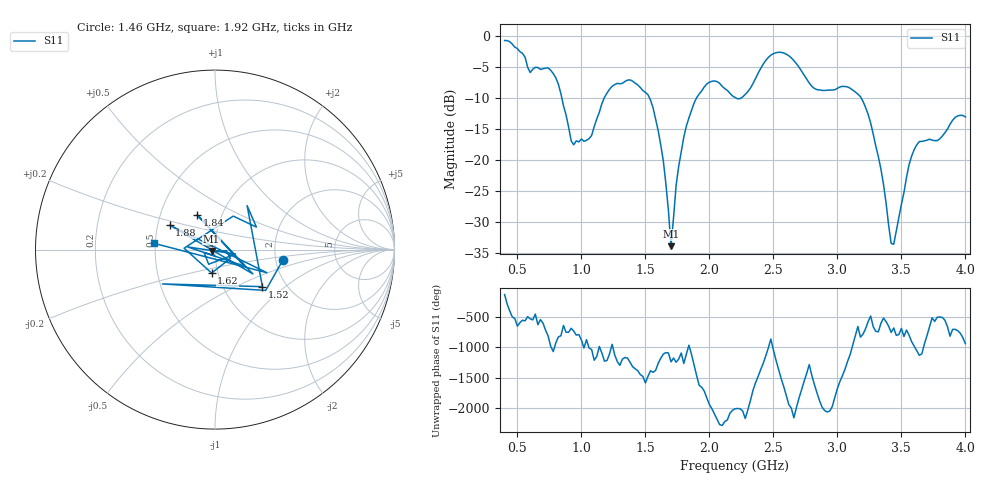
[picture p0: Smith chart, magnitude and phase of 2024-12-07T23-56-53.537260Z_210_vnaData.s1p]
!Created with skrf (http://scikit-rf.org).
# Hz S RI R 50.0
!freq ReS11 ImS11
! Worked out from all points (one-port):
!   181 points, 400 MHz to 4 GHz, reference 50 ohm
!   lowest |S11| = -33.9 dB at 1.7 GHz (marker M1), VSWR 1.04, Z = 48.1 - j0.735 ohm
!   |S11| at or under -10 dB: 846.8 MHz to 1.179 GHz (331.8 MHz wide, 32.8 % of centre); 1.532 GHz to 1.9 GHz (367.8 MHz wide, 21.4 % of centre); 3.185 GHz to end of sweep (the widest 3 of 4)
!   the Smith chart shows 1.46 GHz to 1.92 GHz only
!   S11 on the Smith chart (normalised r, x): 1.46 GHz: 2.19, -0.29; 1.52 GHz: 1.52, -0.71; 1.62 GHz: 0.93, -0.25; 1.84 GHz: 0.76, +0.31; 1.88 GHz: 0.58, +0.17; 1.92 GHz: 0.49, +0.04
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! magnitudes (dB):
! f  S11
! 400 MHz  -0.8
! 600 MHz  -5.9
! 760 MHz  -5.6
! 860 MHz  -11.3
! 940 MHz  -17.5
! 1.04 GHz  -16.8
! 1.2 GHz  -9.2
! 1.3 GHz  -7.7
! 1.46 GHz  -8.3
! 1.52 GHz  -9.5
! 1.62 GHz  -17.6
! 1.7 GHz  -33.9
! 1.76 GHz  -21.0
! 1.84 GHz  -13.2
! 1.88 GHz  -10.9
! 1.92 GHz  -9.4
! 2.04 GHz  -7.3
! 2.2 GHz  -9.9
! 2.48 GHz  -3.1
! 2.66 GHz  -4.0
! 2.82 GHz  -8.5
! 3.1 GHz  -8.5
! 3.26 GHz  -14.1
! 3.34 GHz  -21.5
! 3.42 GHz  -33.4
! 3.56 GHz  -20.7
! 3.64 GHz  -17.0
! 4 GHz  -13.1
